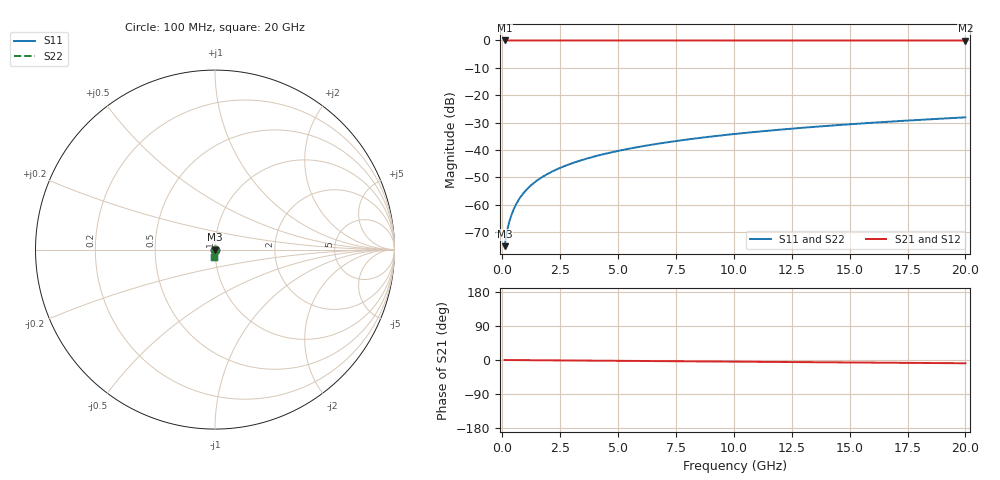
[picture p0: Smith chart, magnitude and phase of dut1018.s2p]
! Touchstone file exported from HFSS 2026.1.0
!  File:  C:/ffzhzh/LocalFiles/Ansys_Project_Files/temp_train_TSV_1018_1783188798_55132.aedt
!  Generated:  02:14:42 AM Jul  5, 2026
!  Design:  TSV
!  Project:  temp_train_TSV_1018_1783188798_55132
! Variables:
!  h_bsmrdl = 2um
!  h_ox = 20um
!  h_rdl = 5um
!  h_sub = 86.13um
!  h_tmrdl = 5um
!  h_tsv = 86.13um
!  h_via = 3um
!  l_bsmrdl = 300um
!  l_sub = 427.66um
!  l_tmrdl = 200um
!  m_sub = 200um
!  pitch = 43.56um
!  r_tsv = 13.83um
!  s_tmrdl = 10um
!  w_bsmrdl = 18um
!  w_sub = 500um
!  w_tmrdl = 12um
!  x_tsv_center1 = 206um
!  x_tsv_center2 = 524um
!  x_tsv_center3 = 736um
!  x_tsv_center4 = 1054um
!  x_tsv_center5 = 1266um
!  x_tsv_center6 = 1584um
# GHz S MA R 50.000000
! Terminal data exported
! Port[1] = TSV1_1_T1
! Port[2] = TSV1_1_T2
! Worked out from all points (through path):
!   200 points, 100 MHz to 20 GHz, reference 50 ohm
!   highest |S21| = 0.00 dB at 100 MHz (marker M1); lowest = 0.0 dB at 20 GHz (marker M2)
!   group delay of S21, straight-line fit = 1.2 ps
!   lowest |S11| = -75.2 dB at 100 MHz (marker M3), VSWR 1.00, Z = 50 - j0.015 ohm
!   |S11| at or under -10 dB: start of sweep to end of sweep
!   |S22| runs from -75.2 to -28.1 dB; largest |S21 - S12| = 4.9e-15
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0.1  0.0001734 -59.7  0.9999 -0.0  0.9999 -0.0  0.0001734 -59.7
! Gamma 0 0 0 0
! Port Impedance 50 0 50 0
0.2  0.0003208 -71.3  0.9999 -0.1  0.9999 -0.1  0.0003208 -71.3
0.3  0.0004818 -74.9  0.9999 -0.1  0.9999 -0.1  0.0004818 -74.9
0.4  0.0006525 -76.7  0.9998 -0.2  0.9998 -0.2  0.0006525 -76.7
0.5  0.0008309 -77.8  0.9998 -0.2  0.9998 -0.2  0.0008309 -77.8
0.7  0.001203 -79.4  0.9998 -0.3  0.9998 -0.3  0.001203 -79.4
0.8  0.001394 -80.1  0.9997 -0.4  0.9997 -0.4  0.001394 -80.1
1  0.001779 -81.3  0.9997 -0.4  0.9997 -0.4  0.001779 -81.3
1.2  0.002167 -82.3  0.9997 -0.5  0.9997 -0.5  0.002167 -82.3
1.4  0.002555 -83.2  0.9997 -0.6  0.9997 -0.6  0.002555 -83.2
1.7  0.003137 -84.2  0.9996 -0.7  0.9996 -0.7  0.003137 -84.2
2  0.003719 -85.0  0.9996 -0.9  0.9996 -0.9  0.003719 -85.0
2.7  0.005076 -86.3  0.9996 -1.2  0.9996 -1.2  0.005076 -86.3
3.5  0.006631 -87.4  0.9995 -1.5  0.9995 -1.5  0.006631 -87.4
4.2  0.007997 -88.0  0.9994 -1.8  0.9994 -1.8  0.007997 -88.0
5  0.009564 -88.7  0.9994 -2.2  0.9994 -2.2  0.009564 -88.7
6.8  0.01311 -90.0  0.9992 -3.0  0.9992 -3.0  0.01311 -90.0
8.3  0.01608 -90.9  0.9991 -3.6  0.9991 -3.6  0.01608 -90.9
10.1  0.01964 -92.0  0.999 -4.4  0.999 -4.4  0.01964 -92.0
13.4  0.02619 -93.7  0.9987 -5.8  0.9987 -5.8  0.02619 -93.7
16.7  0.03273 -95.4  0.9984 -7.2  0.9984 -7.2  0.03273 -95.4
20  0.03928 -96.9  0.998 -8.6  0.998 -8.6  0.03928 -96.9
